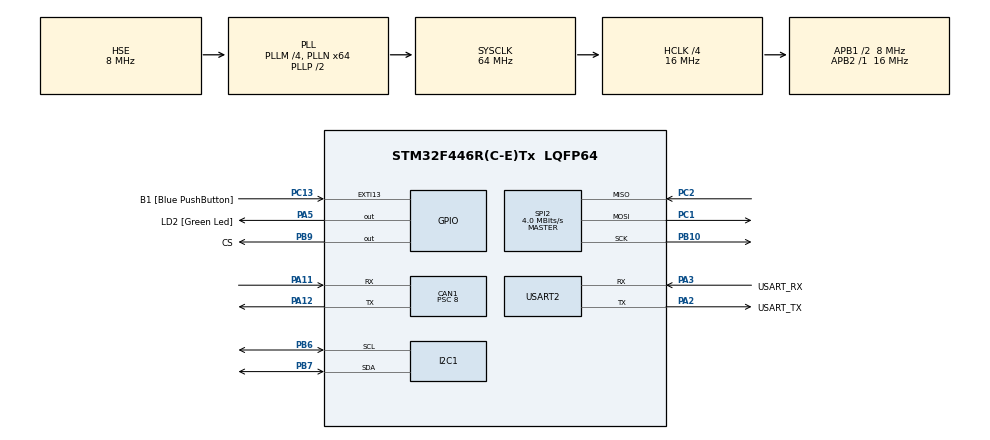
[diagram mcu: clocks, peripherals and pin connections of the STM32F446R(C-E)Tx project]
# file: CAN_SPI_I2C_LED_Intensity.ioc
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CAN1.BS1=CAN_BS1_2TQ
CAN1.CalculateBaudRate=250000
CAN1.CalculateTimeBit=4000
CAN1.CalculateTimeQuantum=1000.0
CAN1.Prescaler=8
Mcu.Family=STM32F4
Mcu.Name=STM32F446R(C-E)Tx
Mcu.Package=LQFP64
NVIC.CAN1_RX0_IRQn=true\:0\:0\:false\:false\:true\:true\:true\:true
NVIC.PriorityGroup=NVIC_PRIORITYGROUP_0
PA11.Mode=CAN_Activate
PA11.Signal=CAN1_RX
PA12.Mode=CAN_Activate
PA12.Signal=CAN1_TX
PA13.GPIO_Label=TMS
PA13.Mode=Serial_Wire
PA13.Signal=SYS_JTMS-SWDIO
PA14.GPIO_Label=TCK
PA14.Mode=Serial_Wire
PA14.Signal=SYS_JTCK-SWCLK
PA2.GPIO_Label=USART_TX
PA2.Mode=Asynchronous
PA2.Signal=USART2_TX
PA3.GPIO_Label=USART_RX
PA3.Mode=Asynchronous
PA3.Signal=USART2_RX
PA5.GPIO_Label=LD2 [Green Led]
PA5.Signal=GPIO_Output
PB10.Mode=Full_Duplex_Master
PB10.Signal=SPI2_SCK
PB3.GPIO_Label=SWO
PB3.Signal=SYS_JTDO-SWO
PB6.Mode=I2C
PB6.Signal=I2C1_SCL
PB7.Mode=I2C
PB7.Signal=I2C1_SDA
PB9.GPIO_Label=CS
PB9.Signal=GPIO_Output
PC1.Mode=Full_Duplex_Master
PC1.Signal=SPI2_MOSI
PC13.GPIO_Label=B1 [Blue PushButton]
PC13.GPIO_ModeDefaultEXTI=GPIO_MODE_IT_FALLING
PC13.Signal=GPXTI13
PC14-OSC32_IN.Mode=LSE-External-Oscillator
PC14-OSC32_IN.Signal=RCC_OSC32_IN
PC15-OSC32_OUT.Mode=LSE-External-Oscillator
PC15-OSC32_OUT.Signal=RCC_OSC32_OUT
PC2.Mode=Full_Duplex_Master
PC2.Signal=SPI2_MISO
PH0-OSC_IN.Mode=HSE-External-Oscillator
PH0-OSC_IN.Signal=RCC_OSC_IN
PH1-OSC_OUT.Mode=HSE-External-Oscillator
PH1-OSC_OUT.Signal=RCC_OSC_OUT
ProjectManager.HeapSize=0x200
ProjectManager.StackSize=0x400
ProjectManager.TargetToolchain=STM32CubeIDE
RCC.48MHZClocksFreq_Value=84000000
RCC.AHBCLKDivider=RCC_SYSCLK_DIV4
RCC.AHBFreq_Value=16000000
RCC.APB1CLKDivider=RCC_HCLK_DIV2
RCC.APB1Freq_Value=8000000
RCC.APB1TimFreq_Value=16000000
RCC.APB2Freq_Value=16000000
RCC.APB2TimFreq_Value=16000000
RCC.CortexFreq_Value=16000000
RCC.FLatency-AdvancedSettings=FLASH_LATENCY_0
RCC.HCLKFreq_Value=16000000
RCC.HSE_VALUE=8000000
RCC.HSI_VALUE=16000000
RCC.PLLM=8
RCC.PLLN=64
RCC.SYSCLKFreq_VALUE=64000000
RCC.SYSCLKSource=RCC_SYSCLKSOURCE_PLLCLK
RCC.USBFreq_Value=64000000
RCC.VCOOutputFreq_Value=128000000
SPI2.CalculateBaudRate=4.0 MBits/s
SPI2.Direction=SPI_DIRECTION_2LINES
SPI2.Mode=SPI_MODE_MASTER
SPI2.VirtualType=VM_MASTER
USART2.VirtualMode=VM_ASYNC
board=NUCLEO-F446RE

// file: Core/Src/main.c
/* USER CODE BEGIN Header */
/**
  ******************************************************************************
  * @file           : main.c
  * @brief          : Main program body
  ******************************************************************************
  * @attention
  *
  * Copyright (c) 2024 STMicroelectronics.
  * All rights reserved.
  *
  * This software is licensed under terms that can be found in the LICENSE file
  * in the root directory of this software component.
  * If no LICENSE file comes with this software, it is provided AS-IS.
  *
  ******************************************************************************
  */
/* USER CODE END Header */
#include "main.h"

/* USER CODE BEGIN Includes */
//#define SPI_TRANSMIT
#define I2C_TRANSMIT

/* USER CODE END Includes */

//ADC_HandleTypeDef hadc1;

CAN_HandleTypeDef hcan1;

I2C_HandleTypeDef hi2c1;

SPI_HandleTypeDef hspi2;

UART_HandleTypeDef huart2;

/* USER CODE BEGIN PV */

CAN_RxHeaderTypeDef RxHeader;
uint32_t TxMailbox;
/* USER CODE END PV */

void SystemClock_Config(void);
static void MX_GPIO_Init(void);
static void MX_USART2_UART_Init(void);
static void MX_CAN1_Init(void);
static void MX_I2C1_Init(void);
static void MX_SPI2_Init(void);
static void MX_ADC1_Init(void);
//void ADC_Potentiometer(void);
void SPI_SendData(void);
void I2C_SendData(void);
/* USER CODE BEGIN PFP */

//uint8_t ESP_RX_DATA[2]={0};
//uint16_t ADC_Value=0;
char SPI_TX_BUFFER[2];
char I2C_TX_BUFFER[2];              //= {0xff, 0xff};
char CAN_Rx_buffer[8];
int flag=0,can_thres;

/* USER CODE END PFP */

/* USER CODE BEGIN 0 */
void HAL_CAN_RxFifo0MsgPendingCallback(CAN_HandleTypeDef *hcan)
{

    if( (HAL_CAN_GetRxMessage(&hcan1,CAN_RX_FIFO0,&RxHeader,CAN_Rx_buffer))==HAL_OK )
    {

        if( RxHeader.IDE == CAN_ID_EXT )
        {
            if (RxHeader.ExtId == 0x18FF228F)
            {
            	HAL_UART_Transmit(&huart2, (uint8_t*)CAN_Rx_buffer,sizeof(CAN_Rx_buffer), 100);
                HAL_GPIO_TogglePin(GPIOA, GPIO_PIN_5);
            	flag = 1;

            }
        }

    }
}
/* USER CODE END 0 */

int main(void)
{

  /* MCU Configuration--------------------------------------------------------*/

  /* Reset of all peripherals, Initializes the Flash interface and the Systick. */
    HAL_Init();

  /* Configure the system clock */
  SystemClock_Config();

  /* Initialize all configured peripherals */
  MX_GPIO_Init();
  MX_USART2_UART_Init();
  MX_CAN1_Init();
  MX_I2C1_Init();
  MX_SPI2_Init();
 // MX_ADC1_Init();
  /* USER CODE BEGIN 2 */

  HAL_CAN_Start(&hcan1);
  HAL_CAN_ActivateNotification(&hcan1, CAN_IT_RX_FIFO0_MSG_PENDING);

  /* USER CODE END 2 */

  /* Infinite loop */
  while (1)
  {
	  // I2C_SendData();
    /* USER CODE BEGIN 3 */
	if(flag==1)
	 {
		can_thres = CAN_Rx_buffer[0] <<8 | CAN_Rx_buffer[1];
		if(can_thres >=0xFBFF)
		{
    	   CAN_Rx_buffer[0]=0;
    	   CAN_Rx_buffer[1]=0;
		}

#ifdef I2C_TRANSMIT
	  I2C_SendData();
#endif

#ifdef SPI_TRANSMIT
	  SPI_SendData();
#endif

HAL_Delay(500);

	  flag=0;

  }
  /* USER CODE END 3 */
}
}

void SystemClock_Config(void)
{
  RCC_OscInitTypeDef RCC_OscInitStruct = {0};
  RCC_ClkInitTypeDef RCC_ClkInitStruct = {0};

  /** Configure the main internal regulator output voltage
  */
  __HAL_RCC_PWR_CLK_ENABLE();
  __HAL_PWR_VOLTAGESCALING_CONFIG(PWR_REGULATOR_VOLTAGE_SCALE3);

  /** Initializes the RCC Oscillators according to the specified parameters
  * in the RCC_OscInitTypeDef structure.
  */
  RCC_OscInitStruct.OscillatorType = RCC_OSCILLATORTYPE_HSE;
  RCC_OscInitStruct.HSEState = RCC_HSE_ON;
  RCC_OscInitStruct.PLL.PLLState = RCC_PLL_ON;
  RCC_OscInitStruct.PLL.PLLSource = RCC_PLLSOURCE_HSE;
  RCC_OscInitStruct.PLL.PLLM = 4;
  RCC_OscInitStruct.PLL.PLLN = 64;
  RCC_OscInitStruct.PLL.PLLP = RCC_PLLP_DIV2;
  RCC_OscInitStruct.PLL.PLLQ = 2;
  RCC_OscInitStruct.PLL.PLLR = 2;
  if (HAL_RCC_OscConfig(&RCC_OscInitStruct) != HAL_OK)
  {
    Error_Handler();
  }

  /** Initializes the CPU, AHB and APB buses clocks
  */
  RCC_ClkInitStruct.ClockType = RCC_CLOCKTYPE_HCLK|RCC_CLOCKTYPE_SYSCLK
                              |RCC_CLOCKTYPE_PCLK1|RCC_CLOCKTYPE_PCLK2;
  RCC_ClkInitStruct.SYSCLKSource = RCC_SYSCLKSOURCE_PLLCLK;
  RCC_ClkInitStruct.AHBCLKDivider = RCC_SYSCLK_DIV4;
  RCC_ClkInitStruct.APB1CLKDivider = RCC_HCLK_DIV2;
  RCC_ClkInitStruct.APB2CLKDivider = RCC_HCLK_DIV1;

  if (HAL_RCC_ClockConfig(&RCC_ClkInitStruct, FLASH_LATENCY_0) != HAL_OK)
  {
    Error_Handler();
  }
}

//static void MX_ADC1_Init(void)
//{
//
//  /* USER CODE BEGIN ADC1_Init 0 */
//
//  /* USER CODE END ADC1_Init 0 */
//
//  //ADC_ChannelConfTypeDef sConfig = {0};
//
//  /* USER CODE BEGIN ADC1_Init 1 */
//
//  /* USER CODE END ADC1_Init 1 */
//
//  /** Configure the global features of the ADC (Clock, Resolution, Data Alignment and number of conversion)
//  */
////  hadc1.Instance = ADC1;
////  hadc1.Init.ClockPrescaler = ADC_CLOCK_SYNC_PCLK_DIV2;
////  hadc1.Init.Resolution = ADC_RESOLUTION_10B;
////  hadc1.Init.ScanConvMode = DISABLE;
////  hadc1.Init.ContinuousConvMode = DISABLE;
////  hadc1.Init.DiscontinuousConvMode = DISABLE;
////  hadc1.Init.ExternalTrigConvEdge = ADC_EXTERNALTRIGCONVEDGE_NONE;
////  hadc1.Init.ExternalTrigConv = ADC_SOFTWARE_START;
////  hadc1.Init.DataAlign = ADC_DATAALIGN_RIGHT;
////  hadc1.Init.NbrOfConversion = 1;
////  hadc1.Init.DMAContinuousRequests = DISABLE;
////  hadc1.Init.EOCSelection = ADC_EOC_SINGLE_CONV;
////  if (HAL_ADC_Init(&hadc1) != HAL_OK)
////  {
////    Error_Handler();
////  }
//
//  /** Configure for the selected ADC regular channel its corresponding rank in the sequencer and its sample time.
//  */
//  sConfig.Channel = ADC_CHANNEL_0;
//  sConfig.Rank = 1;
//  sConfig.SamplingTime = ADC_SAMPLETIME_3CYCLES;
//  if (HAL_ADC_ConfigChannel(&hadc1, &sConfig) != HAL_OK)
//  {
//    Error_Handler();
//  }
//  /* USER CODE BEGIN ADC1_Init 2 */
//
//  /* USER CODE END ADC1_Init 2 */
//
//}

static void MX_CAN1_Init(void)
{

  hcan1.Instance = CAN1;
  hcan1.Init.Prescaler = 2;
  hcan1.Init.Mode = CAN_MODE_NORMAL;
  hcan1.Init.SyncJumpWidth = CAN_SJW_1TQ;
  hcan1.Init.TimeSeg1 = CAN_BS1_12TQ;
  hcan1.Init.TimeSeg2 = CAN_BS2_3TQ;
  hcan1.Init.TimeTriggeredMode = DISABLE;
  hcan1.Init.AutoBusOff = DISABLE;
  hcan1.Init.AutoWakeUp = DISABLE;
  hcan1.Init.AutoRetransmission = DISABLE;
  hcan1.Init.ReceiveFifoLocked = DISABLE;
  hcan1.Init.TransmitFifoPriority = DISABLE;
  if (HAL_CAN_Init(&hcan1) != HAL_OK)
  {
    Error_Handler();
  }
  /* USER CODE BEGIN CAN1_Init 2 */

        CAN_FilterTypeDef filterConfig;
        filterConfig.FilterBank = 0;
        filterConfig.FilterMode = CAN_FILTERMODE_IDMASK;
        filterConfig.FilterScale = CAN_FILTERSCALE_32BIT;
        filterConfig.FilterIdHigh = 0x0000;
        filterConfig.FilterIdLow = 0x0000;
        filterConfig.FilterMaskIdHigh = 0x0000;
        filterConfig.FilterMaskIdLow = 0x0000;
        filterConfig.FilterFIFOAssignment = CAN_RX_FIFO0;
        filterConfig.FilterActivation = ENABLE;
        filterConfig.SlaveStartFilterBank = 14; // Select the desired start filter bank (choose a free one)
        if (HAL_CAN_ConfigFilter(&hcan1, &filterConfig) != HAL_OK)
        {
          Error_Handler();
        }

  /* USER CODE END CAN1_Init 2 */

}

static void MX_I2C1_Init(void)
{

  hi2c1.Instance = I2C1;
  hi2c1.Init.ClockSpeed = 100000;
  hi2c1.Init.DutyCycle = I2C_DUTYCYCLE_2;
  hi2c1.Init.OwnAddress1 = 0;
  hi2c1.Init.AddressingMode = I2C_ADDRESSINGMODE_7BIT;
  hi2c1.Init.DualAddressMode = I2C_DUALADDRESS_DISABLE;
  hi2c1.Init.OwnAddress2 = 0;
  hi2c1.Init.GeneralCallMode = I2C_GENERALCALL_DISABLE;
  hi2c1.Init.NoStretchMode = I2C_NOSTRETCH_DISABLE;
  if (HAL_I2C_Init(&hi2c1) != HAL_OK)
  {
    Error_Handler();
  }

}

static void MX_SPI2_Init(void)
{

  /* SPI2 parameter configuration*/
  hspi2.Instance = SPI2;
  hspi2.Init.Mode = SPI_MODE_MASTER;
  hspi2.Init.Direction = SPI_DIRECTION_2LINES;
  hspi2.Init.DataSize = SPI_DATASIZE_8BIT;
  hspi2.Init.CLKPolarity = SPI_POLARITY_LOW;
  hspi2.Init.CLKPhase = SPI_PHASE_1EDGE;
  hspi2.Init.NSS = SPI_NSS_SOFT;
  hspi2.Init.BaudRatePrescaler = SPI_BAUDRATEPRESCALER_2;
  hspi2.Init.FirstBit = SPI_FIRSTBIT_MSB;
  hspi2.Init.TIMode = SPI_TIMODE_DISABLE;
  hspi2.Init.CRCCalculation = SPI_CRCCALCULATION_DISABLE;
  hspi2.Init.CRCPolynomial = 10;
  if (HAL_SPI_Init(&hspi2) != HAL_OK)
  {
    Error_Handler();
  }

}

static void MX_USART2_UART_Init(void)
{

  huart2.Instance = USART2;
  huart2.Init.BaudRate = 115200;
  huart2.Init.WordLength = UART_WORDLENGTH_8B;
  huart2.Init.StopBits = UART_STOPBITS_1;
  huart2.Init.Parity = UART_PARITY_NONE;
  huart2.Init.Mode = UART_MODE_TX_RX;
  huart2.Init.HwFlowCtl = UART_HWCONTROL_NONE;
  huart2.Init.OverSampling = UART_OVERSAMPLING_16;
  if (HAL_UART_Init(&huart2) != HAL_OK)
  {
    Error_Handler();
  }

}

static void MX_GPIO_Init(void)
{
  GPIO_InitTypeDef GPIO_InitStruct = {0};

  /* GPIO Ports Clock Enable */
  __HAL_RCC_GPIOC_CLK_ENABLE();
  __HAL_RCC_GPIOH_CLK_ENABLE();
  __HAL_RCC_GPIOA_CLK_ENABLE();
  __HAL_RCC_GPIOB_CLK_ENABLE();

  /*Configure GPIO pin Output Level */
  HAL_GPIO_WritePin(GPIOA, GPIO_PIN_5, GPIO_PIN_RESET);

  /*Configure GPIO pin Output Level */
  HAL_GPIO_WritePin(GPIOB, GPIO_PIN_9, GPIO_PIN_RESET);

  /*Configure GPIO pin : PA5 */
  GPIO_InitStruct.Pin = GPIO_PIN_5;
  GPIO_InitStruct.Mode = GPIO_MODE_OUTPUT_PP;
  GPIO_InitStruct.Pull = GPIO_NOPULL;
  GPIO_InitStruct.Speed = GPIO_SPEED_FREQ_LOW;
  HAL_GPIO_Init(GPIOA, &GPIO_InitStruct);

  /*Configure GPIO pin : PB9 */
  GPIO_InitStruct.Pin = GPIO_PIN_9;
  GPIO_InitStruct.Mode = GPIO_MODE_OUTPUT_PP;
  GPIO_InitStruct.Pull = GPIO_NOPULL;
  GPIO_InitStruct.Speed = GPIO_SPEED_FREQ_LOW;
  HAL_GPIO_Init(GPIOB, &GPIO_InitStruct);

}

/* USER CODE BEGIN 4 */
void I2C_SendData(void)
{

	I2C_TX_BUFFER[0]=CAN_Rx_buffer[0];
	I2C_TX_BUFFER[1]=CAN_Rx_buffer[1];
  if(HAL_I2C_Master_Transmit(&hi2c1, 28<<1, I2C_TX_BUFFER, sizeof(I2C_TX_BUFFER), 100)==HAL_OK)
  {
	HAL_GPIO_TogglePin(GPIOA, GPIO_PIN_5);

  }
}
void SPI_SendData(void)
{
//	     ESP_RX_DATA[0]=ADC_Value *0xff;
//	     ESP_RX_DATA[1]= ADC_Value>>8 & 0xff;
	       SPI_TX_BUFFER[0]=CAN_Rx_buffer[0];
	      SPI_TX_BUFFER[1]=CAN_Rx_buffer[1];

	        HAL_GPIO_WritePin(GPIOB,GPIO_PIN_9, 0);//CHIP select as LOW
	 		 if(HAL_SPI_Transmit(&hspi2, (uint8_t *)SPI_TX_BUFFER, sizeof(SPI_TX_BUFFER), 100)==HAL_OK)
	 		 {
	 			  HAL_UART_Transmit(&huart2, (uint8_t *)SPI_TX_BUFFER, sizeof(SPI_TX_BUFFER), 100);
	 			  HAL_GPIO_TogglePin(GPIOA, GPIO_PIN_5);

	 		 }
	 		 HAL_GPIO_WritePin(GPIOB,GPIO_PIN_9, 1);//CHIP Select as HIGH
	 		 HAL_Delay(1000);
}

//void ADC_Potentiometer(void)
//{
//	HAL_ADC_Start(&hadc1);
//	HAL_ADC_PollForConversion(&hadc1, 1000);
//	ADC_Value=HAL_ADC_GetValue(&hadc1);
//	HAL_Delay(1000);
//	HAL_ADC_Stop(&hadc1);
//}

/* USER CODE END 4 */

void Error_Handler(void)
{
  __disable_irq();
  while (1)
  {
  }
}
